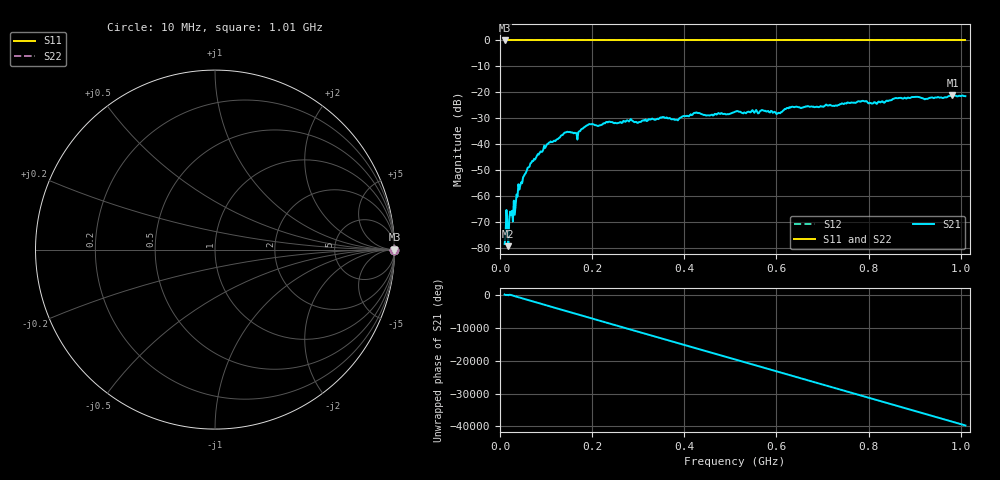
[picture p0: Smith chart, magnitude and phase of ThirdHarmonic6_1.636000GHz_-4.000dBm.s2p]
! 8/16/2025 7:33:36 PM
! C:\ANRITSUVNA\TEMP\TEMP.S2P
! CHANNEL.1
! TR.MEASUREMENT
! RAW.DATA
! RF.CORRECTION.OFF
! AVERAGING.OFF
! IF.BANDWIDTH: 5KHZ
! SWEEPTYPE:  FREQ.SWEEP(Linear)
! Reference Plane Port Info
! PORT:  PORT1  PORT2
! DISTANCE:  0  m  0  m
! TIME:  0  s  0  s
! PHASE.OFFSET:  0  deg.  0  deg.
! LOSS:  0  dB  0  dB
! REF.LOSS:  0  dB  0  dB
! REF.FREQ:  0  Hz  0  Hz
! Power Info
! POWER:  -20  dBm  -20  dBm
! EFF.POWER:  -20  dBm  -20  dBm
! SOURCE.ATTEN:  0  dB  0  dB
! TEST.ATTEN:  0  dB  0  dB
# GHZ S RI R 50.0
! FREQ.GHZ  S11RE  S11IM  S21RE  S21IM  S12RE  S12IM  S22RE  S22IM
!; PortSelection: Port_12
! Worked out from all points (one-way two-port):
!   501 points, 10 MHz to 1.01 GHz, reference 50 ohm
!   highest |S21| = -21.19 dB at 982 MHz (marker M1); lowest = -79.3 dB at 18 MHz (marker M2)
!   lowest |S11| = 0.0 dB at 10 MHz (marker M3)
!   |S11| at or under -10 dB: nowhere
!   |S22| runs from 0.0 to 0.0 dB; largest |S21 - S12| = 1.1
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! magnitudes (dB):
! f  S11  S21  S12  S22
! 10 MHz  0.0  -78.5  0.0  0.0
! 14 MHz  0.0  -65.4  0.0  0.0
! 18 MHz  0.0  -79.3  0.0  0.0
! 20 MHz  0.0  -69.2  0.0  0.0
! 26 MHz  0.0  -65.7  0.0  0.0
! 30 MHz  0.0  -61.8  0.0  0.0
! 44 MHz  0.0  -55.9  0.0  0.0
! 70 MHz  0.0  -46.5  0.0  0.0
! 106 MHz  0.0  -39.4  0.0  0.0
! 142 MHz  0.0  -35.5  0.0  0.0
! 164 MHz  0.0  -35.7  0.0  0.0
! 178 MHz  0.0  -34.1  0.0  0.0
! 196 MHz  0.0  -32.3  0.0  0.0
! 344 MHz  0.0  -30.3  0.0  0.0
! 382 MHz  0.0  -30.6  0.0  0.0
! 510 MHz  0.0  -27.5  0.0  0.0
! 604 MHz  0.0  -27.9  0.0  0.0
! 632 MHz  0.0  -25.7  0.0  0.0
! 678 MHz  0.0  -25.6  0.0  0.0
! 844 MHz  0.0  -23.2  0.0  0.0
! 982 MHz  0.0  -21.2  0.0  0.0
! 1.01 GHz  0.0  -21.5  0.0  0.0
